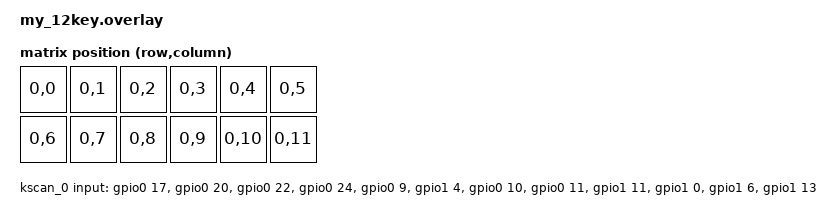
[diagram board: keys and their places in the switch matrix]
#include <dt-bindings/zmk/matrix_transform.h>

/ {
    kscan_0: kscan_0 {
        compatible = "zmk,kscan-gpio-direct";
        input-gpios = <
            &gpio0 17 (GPIO_ACTIVE_LOW | GPIO_PULL_UP)
            &gpio0 20 (GPIO_ACTIVE_LOW | GPIO_PULL_UP)
            &gpio0 22 (GPIO_ACTIVE_LOW | GPIO_PULL_UP)
            &gpio0 24 (GPIO_ACTIVE_LOW | GPIO_PULL_UP)
            &gpio0 9  (GPIO_ACTIVE_LOW | GPIO_PULL_UP)
            &gpio1 4  (GPIO_ACTIVE_LOW | GPIO_PULL_UP)
            &gpio0 10 (GPIO_ACTIVE_LOW | GPIO_PULL_UP)
            &gpio0 11 (GPIO_ACTIVE_LOW | GPIO_PULL_UP)
            &gpio1 11 (GPIO_ACTIVE_LOW | GPIO_PULL_UP)
            &gpio1 0  (GPIO_ACTIVE_LOW | GPIO_PULL_UP)
            &gpio1 6  (GPIO_ACTIVE_LOW | GPIO_PULL_UP)
            &gpio1 13 (GPIO_ACTIVE_LOW | GPIO_PULL_UP)
        >;
        status = "okay";
    };

    default_transform: transform0 {
        compatible = "zmk,matrix-transform";
        rows = <1>;
        columns = <12>;
        map = <
            RC(0,0) RC(0,1) RC(0,2) RC(0,3) RC(0,4) RC(0,5)
            RC(0,6) RC(0,7) RC(0,8) RC(0,9) RC(0,10) RC(0,11)
        >;
    };

    chosen {
        zmk,kscan = &kscan_0;
        zmk,matrix-transform = &default_transform;
    };
};
